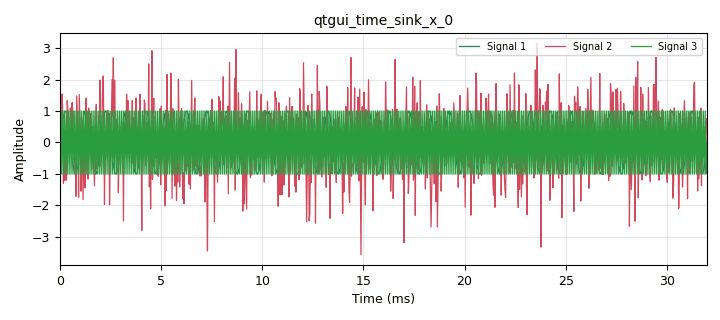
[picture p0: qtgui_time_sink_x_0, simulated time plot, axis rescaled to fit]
options:
  parameters:
    generate_options: qt_gui
    id: untitled
    output_language: python
    title: Not titled yet
  states: {}

blocks:
- name: samp_rate
  id: variable
  parameters:
    value: '32000'
  states: {}
- name: analog_noise_source_x_0
  id: analog_noise_source_x
  parameters:
    amp: '1'
    noise_type: analog.GR_GAUSSIAN
    seed: '0'
    type: float
  states: {}
- name: analog_sig_source_x_0
  id: analog_sig_source_x
  parameters:
    amp: '1'
    freq: '1000'
    offset: '0'
    phase: '0'
    samp_rate: samp_rate
    type: float
    waveform: analog.GR_SIN_WAVE
  states: {}
- name: blocks_throttle_0
  id: blocks_throttle
  parameters:
    samples_per_second: samp_rate
    type: float
  states: {}
- name: blocks_throttle_1
  id: blocks_throttle
  parameters:
    samples_per_second: samp_rate
    type: float
  states: {}
- name: blocks_throttle_2
  id: blocks_throttle
  parameters:
    samples_per_second: samp_rate
    type: float
  states: {}
- name: blocks_vector_source_x_0
  id: blocks_vector_source_x
  parameters:
    repeat: 'True'
    type: float
    vector: (-1, 0, 1)
  states: {}
- name: qtgui_time_sink_x_0
  id: qtgui_time_sink_x
  parameters:
    nconnections: '3'
    size: '1024'
    srate: samp_rate
    type: float
  states: {}

connections:
- [analog_noise_source_x_0, '0', blocks_throttle_1, '0']
- [analog_sig_source_x_0, '0', blocks_throttle_0, '0']
- [blocks_throttle_0, '0', qtgui_time_sink_x_0, '0']
- [blocks_throttle_1, '0', qtgui_time_sink_x_0, '1']
- [blocks_throttle_2, '0', qtgui_time_sink_x_0, '2']
- [blocks_vector_source_x_0, '0', blocks_throttle_2, '0']

metadata:
  file_format: 1
